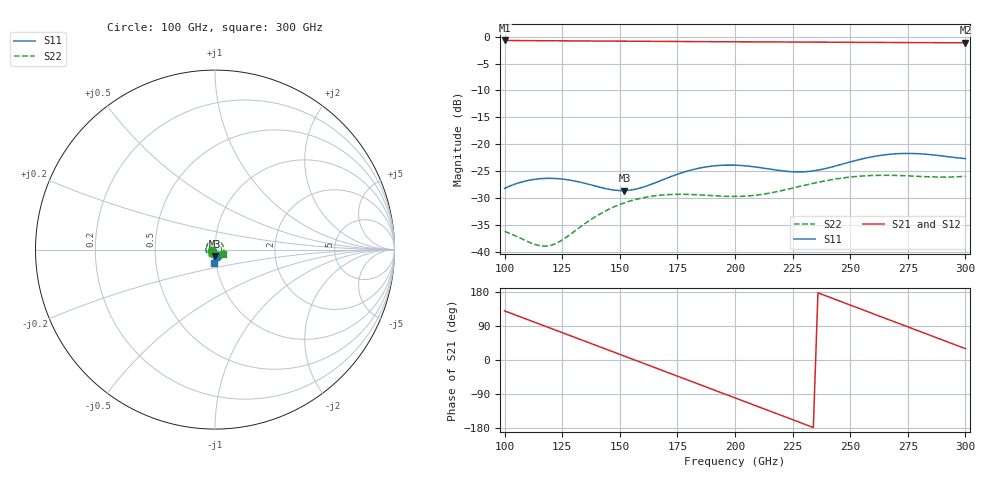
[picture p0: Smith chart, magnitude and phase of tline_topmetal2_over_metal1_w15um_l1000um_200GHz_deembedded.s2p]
! Created with skrf 2.0.1 (http://scikit-rf.org).
# GHz S DB R 50.0
!freq dBS11 angS11 dBS21 angS21 dBS12 angS12 dBS22 angS22
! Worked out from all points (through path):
!   101 points, 100 GHz to 300 GHz, reference 50 ohm
!   highest |S21| = -0.71 dB at 100 GHz (marker M1); lowest = -1.1 dB at 300 GHz (marker M2)
!   group delay of S21, straight-line fit = 6.38 ps
!   lowest |S11| = -28.6 dB at 152 GHz (marker M3), VSWR 1.08, Z = 49.6 - j3.68 ohm
!   |S11| at or under -10 dB: start of sweep to end of sweep
!   |S22| runs from -38.9 to -25.7 dB; largest |S21 - S12| = 1.1e-14
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100  -28.17 -75.7  -0.71 129.6  -0.71 129.6  -36.18 -156.5
108  -26.93 -83.3  -0.73 111.2  -0.73 111.2  -37.65 165.9
116  -26.36 -91.4  -0.75 92.9  -0.75 92.9  -38.88 116.1
124  -26.40 -98.5  -0.78 74.5  -0.78 74.5  -38.03 59.9
134  -27.15 -103.7  -0.80 51.6  -0.80 51.6  -34.98 2.2
144  -28.23 -101.7  -0.82 28.6  -0.82 28.6  -32.32 -43.1
152  -28.60 -94.1  -0.84 10.3  -0.84 10.3  -30.86 -75.8
160  -27.97 -85.7  -0.86 -8.1  -0.86 -8.1  -29.93 -107.6
168  -26.69 -81.5  -0.88 -26.5  -0.88 -26.5  -29.43 -139.6
184  -24.47 -85.6  -0.92 -63.2  -0.92 -63.2  -29.38 152.5
192  -23.96 -90.3  -0.94 -81.6  -0.94 -81.6  -29.57 115.5
200  -23.87 -94.9  -0.96 -100.0  -0.96 -100.0  -29.67 76.2
208  -24.16 -97.9  -0.97 -118.3  -0.97 -118.3  -29.49 35.5
218  -24.78 -97.8  -0.99 -141.3  -0.99 -141.3  -28.80 -15.0
234  -24.93 -88.4  -1.02 -178.2  -1.02 -178.2  -27.23 -90.6
242  -24.20 -84.1  -1.03 163.4  -1.03 163.4  -26.56 -126.1
250  -23.27 -82.9  -1.05 145.0  -1.05 145.0  -26.08 -160.7
260  -22.28 -85.2  -1.07 122.0  -1.07 122.0  -25.78 156.3
268  -21.82 -88.7  -1.09 103.6  -1.09 103.6  -25.76 121.3
276  -21.70 -92.3  -1.10 85.2  -1.10 85.2  -25.87 85.2
284  -21.88 -94.9  -1.12 66.8  -1.12 66.8  -26.03 47.7
300  -22.65 -93.6  -1.14 29.9  -1.14 29.9  -25.93 -31.0
